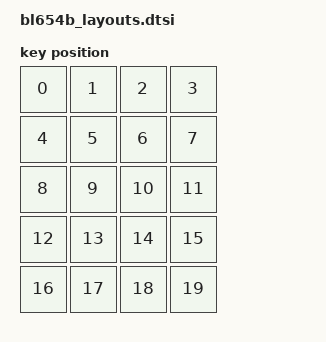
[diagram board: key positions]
#include <physical_layouts.dtsi>

/ {
    layout_bl654b: layout_bl654b {
        compatible = "zmk,physical-layout";
        display-name = "bl654b";

        kscan = <&kscan0>;
        transform = <&matrix_transform0>;

        keys  //                     w   h    x    y     rot    rx    ry
            = <&key_physical_attrs 100 100    0    0       0     0     0>
            , <&key_physical_attrs 100 100  100    0       0     0     0>
            , <&key_physical_attrs 100 100  200    0       0     0     0>
            , <&key_physical_attrs 100 100  300    0       0     0     0>
            , <&key_physical_attrs 100 100    0  100       0     0     0>
            , <&key_physical_attrs 100 100  100  100       0     0     0>
            , <&key_physical_attrs 100 100  200  100       0     0     0>
            , <&key_physical_attrs 100 100  300  100       0     0     0>
            , <&key_physical_attrs 100 100    0  200       0     0     0>
            , <&key_physical_attrs 100 100  100  200       0     0     0>
            , <&key_physical_attrs 100 100  200  200       0     0     0>
            , <&key_physical_attrs 100 100  300  200       0     0     0>
            , <&key_physical_attrs 100 100    0  300       0     0     0>
            , <&key_physical_attrs 100 100  100  300       0     0     0>
            , <&key_physical_attrs 100 100  200  300       0     0     0>
            , <&key_physical_attrs 100 100  300  300       0     0     0>
            , <&key_physical_attrs 100 100    0  400       0     0     0>
            , <&key_physical_attrs 100 100  100  400       0     0     0>
            , <&key_physical_attrs 100 100  200  400       0     0     0>
            , <&key_physical_attrs 100 100  300  400       0     0     0>
            ;
    };
};
